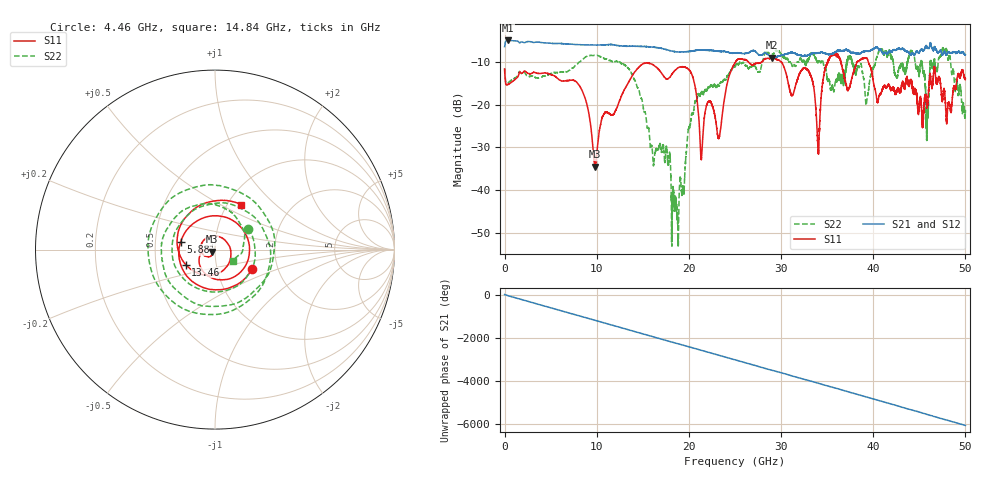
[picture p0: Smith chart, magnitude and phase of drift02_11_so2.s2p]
!Created with skrf (http://scikit-rf.org).
# Hz S RI R 50.0
!freq ReS11 ImS11 ReS21 ImS21 ReS12 ImS12 ReS22 ImS22
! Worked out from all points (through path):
!   10001 points, 300 kHz to 50 GHz, reference 50 ohm
!   highest |S21| = -5.04 dB at 320.3 MHz (marker M1); lowest = -9.0 dB at 29.05 GHz (marker M2)
!   group delay of S21, straight-line fit = 336 ps
!   lowest |S11| = -34.4 dB at 9.84 GHz (marker M3), VSWR 1.04, Z = 48.5 - j1.04 ohm
!   |S11| at or under -10 dB: start of sweep to 25.07 GHz; 29.98 GHz to 35.06 GHz (5.078 GHz wide, 15.6 % of centre); 39.47 GHz to end of sweep (the widest 3 of 10)
!   |S22| runs from -53.0 to -6.7 dB; largest |S21 - S12| = 0.023
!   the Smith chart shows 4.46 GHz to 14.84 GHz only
!   S11 on the Smith chart (normalised r, x): 4.46 GHz: 1.47, -0.34; 5.88 GHz: 0.68, +0.06; 13.46 GHz: 0.71, -0.12; 14.84 GHz: 1.15, +0.63
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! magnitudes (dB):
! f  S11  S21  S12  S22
! 300 kHz  -11.7  -6.5  -6.4  -11.6
! 320.3 MHz  -15.4  -5.0  -5.0  -15.0
! 4.46 GHz  -12.7  -5.6  -5.6  -13.3
! 5.88 GHz  -14.1  -5.7  -5.7  -12.5
! 8.335 GHz  -16.4  -6.1  -6.0  -9.6
! 9.84 GHz  -34.4  -6.1  -6.1  -8.6
! 13.46 GHz  -14.7  -6.4  -6.4  -11.6
! 14.84 GHz  -10.8  -6.4  -6.4  -18.5
! 16.67 GHz  -11.7  -6.7  -6.7  -30.3
! 18.68 GHz  -11.7  -7.7  -7.7  -45.5
! 20.37 GHz  -13.3  -7.5  -7.5  -22.2
! 21.37 GHz  -32.5  -7.3  -7.3  -17.1
! 23.31 GHz  -27.4  -7.6  -7.6  -15.6
! 25 GHz  -10.3  -8.0  -8.0  -11.1
! 29.05 GHz  -9.1  -9.0  -9.0  -8.3
! 33.34 GHz  -14.0  -8.1  -8.1  -8.1
! 34.02 GHz  -31.0  -7.9  -7.9  -10.1
! 35.52 GHz  -8.5  -8.1  -8.1  -15.9
! 41.67 GHz  -15.4  -7.7  -7.8  -7.6
! 45.85 GHz  -20.8  -6.6  -6.8  -21.4
! 47.76 GHz  -17.4  -7.6  -7.5  -7.3
! 50 GHz  -14.0  -8.4  -8.5  -21.8
